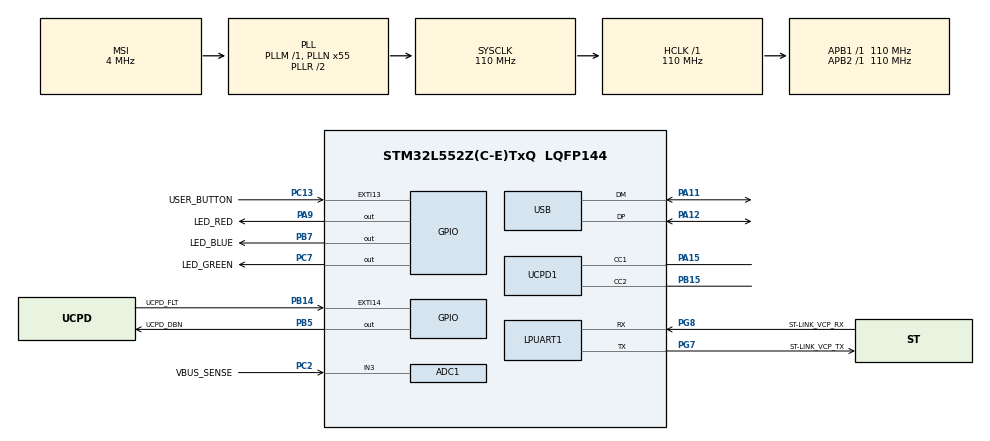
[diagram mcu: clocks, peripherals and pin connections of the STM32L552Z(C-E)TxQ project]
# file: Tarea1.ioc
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ADC1.Channel-0\#ChannelRegularConversion=ADC_CHANNEL_3
ADC1.NbrOfConversionFlag=1
ADC1.OffsetNumber-0\#ChannelRegularConversion=ADC_OFFSET_NONE
ADC1.Rank-0\#ChannelRegularConversion=1
ADC1.SamplingTime-0\#ChannelRegularConversion=ADC_SAMPLETIME_2CYCLES_5
ADC1.master=1
Mcu.Family=STM32L5
Mcu.Name=STM32L552Z(C-E)TxQ
Mcu.Package=LQFP144
Mcu.TrustZone=disable
NVIC.EXTI13_IRQn=true\:0\:0\:false\:false\:true\:true\:true\:true
NVIC.PriorityGroup=NVIC_PRIORITYGROUP_3
PA11.Mode=Device
PA11.Signal=USB_DM
PA12.Mode=Device
PA12.Signal=USB_DP
PA13\ (JTMS/SWDIO).Mode=Trace_Asynchronous_SW
PA13\ (JTMS/SWDIO).Signal=DEBUG_JTMS-SWDIO
PA14\ (JTCK/SWCLK).Mode=Trace_Asynchronous_SW
PA14\ (JTCK/SWCLK).Signal=DEBUG_JTCK-SWCLK
PA15\ (JTDI).Mode=Source_AllSignals
PA15\ (JTDI).Signal=UCPD1_CC1
PA9.GPIO_Label=LED_RED
PA9.Signal=GPIO_Output
PB14.GPIO_Label=UCPD_FLT
PB14.Signal=GPXTI14
PB15.Mode=Source_AllSignals
PB15.Signal=UCPD1_CC2
PB3\ (JTDO/TRACESWO).Mode=Trace_Asynchronous_SW
PB3\ (JTDO/TRACESWO).Signal=DEBUG_JTDO-SWO
PB5.GPIO_Label=UCPD_DBN
PB5.Signal=GPIO_Output
PB7.GPIO_Label=LED_BLUE
PB7.Signal=GPIO_Output
PC13.GPIO_Label=USER_BUTTON
PC13.GPIO_ModeDefaultEXTI=GPIO_MODE_IT_FALLING
PC13.Signal=GPXTI13
PC14-OSC32_IN\ (PC14).Mode=LSE-External-Oscillator
PC14-OSC32_IN\ (PC14).Signal=RCC_OSC32_IN
PC15-OSC32_OUT\ (PC15).Mode=LSE-External-Oscillator
PC15-OSC32_OUT\ (PC15).Signal=RCC_OSC32_OUT
PC2.GPIO_Label=VBUS_SENSE
PC2.Signal=ADCx_IN3
PC7.GPIO_Label=LED_GREEN
PC7.Signal=GPIO_Output
PG7.GPIO_Label=ST-LINK_VCP_TX
PG7.Mode=Asynchronous
PG7.Signal=LPUART1_TX
PG8.GPIO_Label=ST-LINK_VCP_RX
PG8.Mode=Asynchronous
PG8.Signal=LPUART1_RX
ProjectManager.HeapSize=0x200
ProjectManager.StackSize=0x400
ProjectManager.TargetToolchain=STM32CubeIDE
RCC.ADCCLockSelection=RCC_ADCCLKSOURCE_SYSCLK
RCC.ADCFreq_Value=110000000
RCC.AHBFreq_Value=110000000
RCC.APB1Freq_Value=110000000
RCC.APB1TimFreq_Value=110000000
RCC.APB2Freq_Value=110000000
RCC.APB2TimFreq_Value=110000000
RCC.CK48CLockSelection=RCC_USBCLKSOURCE_HSI48
RCC.CortexFreq_Value=110000000
RCC.HCLKFreq_Value=110000000
RCC.HSE_VALUE=8000000
RCC.HSI48_VALUE=48000000
RCC.HSI_VALUE=16000000
RCC.MSI_VALUE=4000000
RCC.PLLN=55
RCC.PLLSAI1N=24
RCC.RTCClockSelection=RCC_RTCCLKSOURCE_LSE
RCC.SYSCLKFreq_VALUE=110000000
RCC.SYSCLKSource=RCC_SYSCLKSOURCE_PLLCLK
RCC.USBFreq_Value=48000000
RCC.VCOOutputFreq_Value=220000000
SH.ADCx_IN3.0=ADC1_IN3,IN3-Single-Ended
VP_ICACHE_VS_ICACHE.Mode=DirectMappedCache
VP_PWR_VS_DBSignals.Mode=DisableDeadBatterySignals
VP_RTC_VS_RTC_Activate.Mode=RTC_Enabled
board=NUCLEO-L552ZE-Q

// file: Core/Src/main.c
/* USER CODE BEGIN Header */
/**
  ******************************************************************************
  * @file           : main.c
  * @brief          : Main program body
  ******************************************************************************
  * @attention
  *
  * Copyright (c) 2024 STMicroelectronics.
  * All rights reserved.
  *
  * This software is licensed under terms that can be found in the LICENSE file
  * in the root directory of this software component.
  * If no LICENSE file comes with this software, it is provided AS-IS.
  *
  ******************************************************************************
  */
/* USER CODE END Header */
#include "main.h"

/* USER CODE BEGIN PM */
uint8_t flag = 0;
int estado=0;
/* USER CODE END PM */

ADC_HandleTypeDef hadc1;

UART_HandleTypeDef hlpuart1;

RTC_HandleTypeDef hrtc;

PCD_HandleTypeDef hpcd_USB_FS;

void SystemClock_Config(void);
static void MX_GPIO_Init(void);
static void MX_ADC1_Init(void);
static void MX_ICACHE_Init(void);
static void MX_LPUART1_UART_Init(void);
static void MX_RTC_Init(void);
static void MX_UCPD1_Init(void);
static void MX_USB_PCD_Init(void);

int main(void)
{

  /* MCU Configuration--------------------------------------------------------*/

  /* Reset of all peripherals, Initializes the Flash interface and the Systick. */
  HAL_Init();

  /* Configure the system clock */
  SystemClock_Config();

  /* Initialize all configured peripherals */
  MX_GPIO_Init();
  MX_ADC1_Init();
  MX_ICACHE_Init();
  MX_LPUART1_UART_Init();
  MX_RTC_Init();
  MX_UCPD1_Init();
  MX_USB_PCD_Init();

  /* Infinite loop */
  /* USER CODE BEGIN WHILE */
  while (1)
  {
	  if(flag == 1) {
		  if(estado == 0) {
			  estado = 1;
		  }else {
			  estado = 0;
		  }
	  }
	  flag = 0;
	  if(estado == 0) {
		  HAL_GPIO_TogglePin(LED_GREEN_GPIO_Port, LED_GREEN_Pin);
		  HAL_Delay(500);
	  }else {
		  HAL_GPIO_WritePin(LED_GREEN_GPIO_Port, LED_GREEN_Pin, GPIO_PIN_RESET);
	  }

    /* USER CODE END WHILE */

  }
}

void SystemClock_Config(void)
{
  RCC_OscInitTypeDef RCC_OscInitStruct = {0};
  RCC_ClkInitTypeDef RCC_ClkInitStruct = {0};

  /** Configure the main internal regulator output voltage
  */
  if (HAL_PWREx_ControlVoltageScaling(PWR_REGULATOR_VOLTAGE_SCALE0) != HAL_OK)
  {
    Error_Handler();
  }

  /** Configure LSE Drive Capability
  */
  HAL_PWR_EnableBkUpAccess();
  __HAL_RCC_LSEDRIVE_CONFIG(RCC_LSEDRIVE_LOW);

  /** Initializes the RCC Oscillators according to the specified parameters
  * in the RCC_OscInitTypeDef structure.
  */
  RCC_OscInitStruct.OscillatorType = RCC_OSCILLATORTYPE_HSI48|RCC_OSCILLATORTYPE_HSI
                              |RCC_OSCILLATORTYPE_LSE|RCC_OSCILLATORTYPE_MSI;
  RCC_OscInitStruct.LSEState = RCC_LSE_ON;
  RCC_OscInitStruct.HSIState = RCC_HSI_ON;
  RCC_OscInitStruct.HSI48State = RCC_HSI48_ON;
  RCC_OscInitStruct.HSICalibrationValue = RCC_HSICALIBRATION_DEFAULT;
  RCC_OscInitStruct.MSIState = RCC_MSI_ON;
  RCC_OscInitStruct.MSICalibrationValue = RCC_MSICALIBRATION_DEFAULT;
  RCC_OscInitStruct.MSIClockRange = RCC_MSIRANGE_6;
  RCC_OscInitStruct.PLL.PLLState = RCC_PLL_ON;
  RCC_OscInitStruct.PLL.PLLSource = RCC_PLLSOURCE_MSI;
  RCC_OscInitStruct.PLL.PLLM = 1;
  RCC_OscInitStruct.PLL.PLLN = 55;
  RCC_OscInitStruct.PLL.PLLP = RCC_PLLP_DIV7;
  RCC_OscInitStruct.PLL.PLLQ = RCC_PLLQ_DIV2;
  RCC_OscInitStruct.PLL.PLLR = RCC_PLLR_DIV2;
  if (HAL_RCC_OscConfig(&RCC_OscInitStruct) != HAL_OK)
  {
    Error_Handler();
  }

  /** Initializes the CPU, AHB and APB buses clocks
  */
  RCC_ClkInitStruct.ClockType = RCC_CLOCKTYPE_HCLK|RCC_CLOCKTYPE_SYSCLK
                              |RCC_CLOCKTYPE_PCLK1|RCC_CLOCKTYPE_PCLK2;
  RCC_ClkInitStruct.SYSCLKSource = RCC_SYSCLKSOURCE_PLLCLK;
  RCC_ClkInitStruct.AHBCLKDivider = RCC_SYSCLK_DIV1;
  RCC_ClkInitStruct.APB1CLKDivider = RCC_HCLK_DIV1;
  RCC_ClkInitStruct.APB2CLKDivider = RCC_HCLK_DIV1;

  if (HAL_RCC_ClockConfig(&RCC_ClkInitStruct, FLASH_LATENCY_5) != HAL_OK)
  {
    Error_Handler();
  }
}

static void MX_ADC1_Init(void)
{

  ADC_MultiModeTypeDef multimode = {0};
  ADC_ChannelConfTypeDef sConfig = {0};

  /** Common config
  */
  hadc1.Instance = ADC1;
  hadc1.Init.ClockPrescaler = ADC_CLOCK_ASYNC_DIV1;
  hadc1.Init.Resolution = ADC_RESOLUTION_12B;
  hadc1.Init.DataAlign = ADC_DATAALIGN_RIGHT;
  hadc1.Init.ScanConvMode = ADC_SCAN_DISABLE;
  hadc1.Init.EOCSelection = ADC_EOC_SINGLE_CONV;
  hadc1.Init.LowPowerAutoWait = DISABLE;
  hadc1.Init.ContinuousConvMode = DISABLE;
  hadc1.Init.NbrOfConversion = 1;
  hadc1.Init.DiscontinuousConvMode = DISABLE;
  hadc1.Init.ExternalTrigConv = ADC_SOFTWARE_START;
  hadc1.Init.ExternalTrigConvEdge = ADC_EXTERNALTRIGCONVEDGE_NONE;
  hadc1.Init.DMAContinuousRequests = DISABLE;
  hadc1.Init.Overrun = ADC_OVR_DATA_PRESERVED;
  hadc1.Init.OversamplingMode = DISABLE;
  if (HAL_ADC_Init(&hadc1) != HAL_OK)
  {
    Error_Handler();
  }

  /** Configure the ADC multi-mode
  */
  multimode.Mode = ADC_MODE_INDEPENDENT;
  if (HAL_ADCEx_MultiModeConfigChannel(&hadc1, &multimode) != HAL_OK)
  {
    Error_Handler();
  }

  /** Configure Regular Channel
  */
  sConfig.Channel = ADC_CHANNEL_3;
  sConfig.Rank = ADC_REGULAR_RANK_1;
  sConfig.SamplingTime = ADC_SAMPLETIME_2CYCLES_5;
  sConfig.SingleDiff = ADC_SINGLE_ENDED;
  sConfig.OffsetNumber = ADC_OFFSET_NONE;
  sConfig.Offset = 0;
  if (HAL_ADC_ConfigChannel(&hadc1, &sConfig) != HAL_OK)
  {
    Error_Handler();
  }

}

static void MX_ICACHE_Init(void)
{

  /** Enable instruction cache in 1-way (direct mapped cache)
  */
  if (HAL_ICACHE_ConfigAssociativityMode(ICACHE_1WAY) != HAL_OK)
  {
    Error_Handler();
  }
  if (HAL_ICACHE_Enable() != HAL_OK)
  {
    Error_Handler();
  }

}

static void MX_LPUART1_UART_Init(void)
{

  hlpuart1.Instance = LPUART1;
  hlpuart1.Init.BaudRate = 209700;
  hlpuart1.Init.WordLength = UART_WORDLENGTH_8B;
  hlpuart1.Init.StopBits = UART_STOPBITS_1;
  hlpuart1.Init.Parity = UART_PARITY_NONE;
  hlpuart1.Init.Mode = UART_MODE_TX_RX;
  hlpuart1.Init.HwFlowCtl = UART_HWCONTROL_NONE;
  hlpuart1.Init.OneBitSampling = UART_ONE_BIT_SAMPLE_DISABLE;
  hlpuart1.Init.ClockPrescaler = UART_PRESCALER_DIV1;
  hlpuart1.AdvancedInit.AdvFeatureInit = UART_ADVFEATURE_NO_INIT;
  hlpuart1.FifoMode = UART_FIFOMODE_DISABLE;
  if (HAL_UART_Init(&hlpuart1) != HAL_OK)
  {
    Error_Handler();
  }
  if (HAL_UARTEx_SetTxFifoThreshold(&hlpuart1, UART_TXFIFO_THRESHOLD_1_8) != HAL_OK)
  {
    Error_Handler();
  }
  if (HAL_UARTEx_SetRxFifoThreshold(&hlpuart1, UART_RXFIFO_THRESHOLD_1_8) != HAL_OK)
  {
    Error_Handler();
  }
  if (HAL_UARTEx_DisableFifoMode(&hlpuart1) != HAL_OK)
  {
    Error_Handler();
  }

}

static void MX_RTC_Init(void)
{

  RTC_PrivilegeStateTypeDef privilegeState = {0};

  /** Initialize RTC Only
  */
  hrtc.Instance = RTC;
  hrtc.Init.HourFormat = RTC_HOURFORMAT_24;
  hrtc.Init.AsynchPrediv = 127;
  hrtc.Init.SynchPrediv = 255;
  hrtc.Init.OutPut = RTC_OUTPUT_DISABLE;
  hrtc.Init.OutPutRemap = RTC_OUTPUT_REMAP_NONE;
  hrtc.Init.OutPutPolarity = RTC_OUTPUT_POLARITY_HIGH;
  hrtc.Init.OutPutType = RTC_OUTPUT_TYPE_OPENDRAIN;
  hrtc.Init.OutPutPullUp = RTC_OUTPUT_PULLUP_NONE;
  if (HAL_RTC_Init(&hrtc) != HAL_OK)
  {
    Error_Handler();
  }
  privilegeState.rtcPrivilegeFull = RTC_PRIVILEGE_FULL_NO;
  privilegeState.backupRegisterPrivZone = RTC_PRIVILEGE_BKUP_ZONE_NONE;
  privilegeState.backupRegisterStartZone2 = RTC_BKP_DR0;
  privilegeState.backupRegisterStartZone3 = RTC_BKP_DR0;
  if (HAL_RTCEx_PrivilegeModeSet(&hrtc, &privilegeState) != HAL_OK)
  {
    Error_Handler();
  }

}

static void MX_UCPD1_Init(void)
{

  LL_GPIO_InitTypeDef GPIO_InitStruct = {0};

  /* Peripheral clock enable */
  LL_APB1_GRP2_EnableClock(LL_APB1_GRP2_PERIPH_UCPD1);

  LL_AHB2_GRP1_EnableClock(LL_AHB2_GRP1_PERIPH_GPIOB);
  LL_AHB2_GRP1_EnableClock(LL_AHB2_GRP1_PERIPH_GPIOA);
  /**UCPD1 GPIO Configuration
  PB15   ------> UCPD1_CC2
  PA15 (JTDI)   ------> UCPD1_CC1
  */
  GPIO_InitStruct.Pin = LL_GPIO_PIN_15;
  GPIO_InitStruct.Mode = LL_GPIO_MODE_ANALOG;
  GPIO_InitStruct.Pull = LL_GPIO_PULL_NO;
  LL_GPIO_Init(GPIOB, &GPIO_InitStruct);

  GPIO_InitStruct.Pin = LL_GPIO_PIN_15;
  GPIO_InitStruct.Mode = LL_GPIO_MODE_ANALOG;
  GPIO_InitStruct.Pull = LL_GPIO_PULL_NO;
  LL_GPIO_Init(GPIOA, &GPIO_InitStruct);

}

static void MX_USB_PCD_Init(void)
{

  hpcd_USB_FS.Instance = USB;
  hpcd_USB_FS.Init.dev_endpoints = 8;
  hpcd_USB_FS.Init.speed = PCD_SPEED_FULL;
  hpcd_USB_FS.Init.phy_itface = PCD_PHY_EMBEDDED;
  hpcd_USB_FS.Init.Sof_enable = DISABLE;
  hpcd_USB_FS.Init.low_power_enable = DISABLE;
  hpcd_USB_FS.Init.lpm_enable = DISABLE;
  hpcd_USB_FS.Init.battery_charging_enable = DISABLE;
  if (HAL_PCD_Init(&hpcd_USB_FS) != HAL_OK)
  {
    Error_Handler();
  }

}

static void MX_GPIO_Init(void)
{
  GPIO_InitTypeDef GPIO_InitStruct = {0};

  /* GPIO Ports Clock Enable */
  __HAL_RCC_GPIOC_CLK_ENABLE();
  __HAL_RCC_GPIOB_CLK_ENABLE();
  __HAL_RCC_GPIOG_CLK_ENABLE();
  HAL_PWREx_EnableVddIO2();
  __HAL_RCC_GPIOA_CLK_ENABLE();

  /*Configure GPIO pin Output Level */
  HAL_GPIO_WritePin(LED_GREEN_GPIO_Port, LED_GREEN_Pin, GPIO_PIN_RESET);

  /*Configure GPIO pin Output Level */
  HAL_GPIO_WritePin(LED_RED_GPIO_Port, LED_RED_Pin, GPIO_PIN_RESET);

  /*Configure GPIO pin Output Level */
  HAL_GPIO_WritePin(GPIOB, UCPD_DBN_Pin|LED_BLUE_Pin, GPIO_PIN_RESET);

  /*Configure GPIO pin : USER_BUTTON_Pin */
  GPIO_InitStruct.Pin = USER_BUTTON_Pin;
  GPIO_InitStruct.Mode = GPIO_MODE_IT_FALLING;
  GPIO_InitStruct.Pull = GPIO_NOPULL;
  HAL_GPIO_Init(USER_BUTTON_GPIO_Port, &GPIO_InitStruct);

  /*Configure GPIO pin : UCPD_FLT_Pin */
  GPIO_InitStruct.Pin = UCPD_FLT_Pin;
  GPIO_InitStruct.Mode = GPIO_MODE_IT_RISING;
  GPIO_InitStruct.Pull = GPIO_NOPULL;
  HAL_GPIO_Init(UCPD_FLT_GPIO_Port, &GPIO_InitStruct);

  /*Configure GPIO pin : LED_GREEN_Pin */
  GPIO_InitStruct.Pin = LED_GREEN_Pin;
  GPIO_InitStruct.Mode = GPIO_MODE_OUTPUT_PP;
  GPIO_InitStruct.Pull = GPIO_NOPULL;
  GPIO_InitStruct.Speed = GPIO_SPEED_FREQ_LOW;
  HAL_GPIO_Init(LED_GREEN_GPIO_Port, &GPIO_InitStruct);

  /*Configure GPIO pin : LED_RED_Pin */
  GPIO_InitStruct.Pin = LED_RED_Pin;
  GPIO_InitStruct.Mode = GPIO_MODE_OUTPUT_PP;
  GPIO_InitStruct.Pull = GPIO_NOPULL;
  GPIO_InitStruct.Speed = GPIO_SPEED_FREQ_LOW;
  HAL_GPIO_Init(LED_RED_GPIO_Port, &GPIO_InitStruct);

  /*Configure GPIO pins : UCPD_DBN_Pin LED_BLUE_Pin */
  GPIO_InitStruct.Pin = UCPD_DBN_Pin|LED_BLUE_Pin;
  GPIO_InitStruct.Mode = GPIO_MODE_OUTPUT_PP;
  GPIO_InitStruct.Pull = GPIO_NOPULL;
  GPIO_InitStruct.Speed = GPIO_SPEED_FREQ_LOW;
  HAL_GPIO_Init(GPIOB, &GPIO_InitStruct);

  /* EXTI interrupt init*/
  HAL_NVIC_SetPriority(EXTI13_IRQn, 0, 0);
  HAL_NVIC_EnableIRQ(EXTI13_IRQn);

}

/* USER CODE BEGIN 4 */
void HAL_GPIO_EXTI_Falling_Callback(uint16_t GPIO_Pin) {
	flag = 1;
}
/* USER CODE END 4 */

void Error_Handler(void)
{
  __disable_irq();
  while (1)
  {
  }
}
